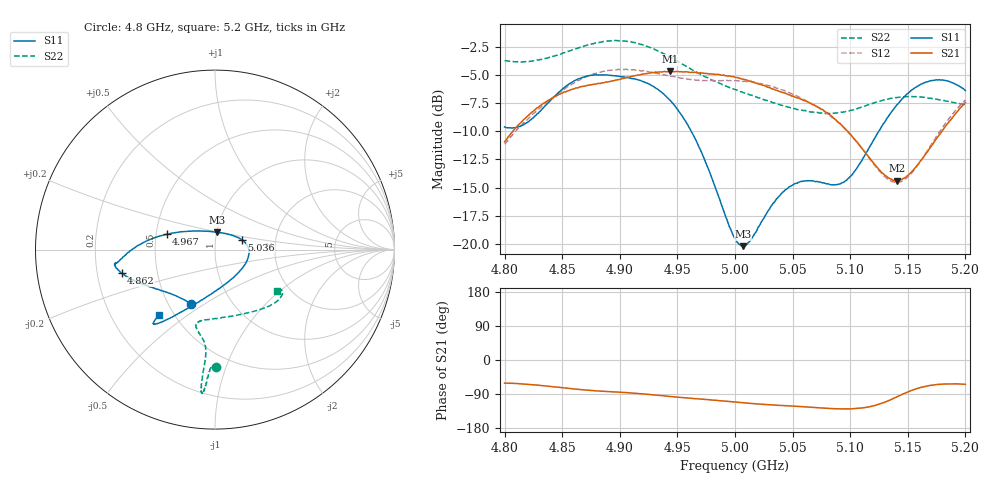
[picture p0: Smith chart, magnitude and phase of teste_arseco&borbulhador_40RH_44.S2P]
! Network Analyzer HP8722D
! Hewlett-Packard
! Data name: Linha & Wilkinson
! Saver's name: Rodrigo Anjos
! Comments: Teste da utilização de aquisição
! continua pelo VNA HP8722D
! Time and date: 15/4/2025 16:43
!  Frequency  S11  S21  S12  S22
# HZ  S  MA R 50
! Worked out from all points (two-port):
!   401 points, 4.8 GHz to 5.2 GHz, reference 50 ohm
!   highest |S21| = -4.63 dB at 4.944 GHz (marker M1); lowest = -14.4 dB at 5.141 GHz (marker M2)
!   |S21| within 3 dB of the highest: 4.832 GHz to 5.068 GHz (236.3 MHz wide, 4.77 % of centre); 5.198086 GHz to end of sweep
!   lowest |S11| = -20.2 dB at 5.007 GHz (marker M3), VSWR 1.22, Z = 50.4 + j9.82 ohm
!   |S11| at or under -10 dB: 4.962 GHz to 5.125 GHz (162.6 MHz wide, 3.22 % of centre)
!   |S22| runs from -8.4 to -1.9 dB; largest |S21 - S12| = 0.88
!   S11 on the Smith chart (normalised r, x): 4.8 GHz: 0.65, -0.44; 4.862 GHz: 0.31, -0.11; 4.967 GHz: 0.57, +0.11; 5.036 GHz: 1.34, +0.15; 5.2 GHz: 0.41, -0.39
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4.8e9  0.3313 -114.0  0.2846 -61.0  0.2774 -175.1  0.654 -89.6
4.819e9  0.3451 -133.8  0.3666 -63.9  0.354 -173.5  0.6481 -91.2
4.862e9  0.5368 -165.9  0.4945 -76.7  0.5272 -176.6  0.7395 -93.7
4.867e9  0.5496 -167.8  0.5016 -78.4  0.5435 -177.7  0.7542 -93.8
4.902e9  0.554 -172.4  0.5439 -85.3  0.5977 175.2  0.8013 -95.3
4.934e9  0.4828 -178.2  0.5824 -93.5  0.5715 171.8  0.718 -95.6
4.944e9  0.4339 177.2  0.5866 -96.2  0.558 171.9  0.6773 -95.5
4.967e9  0.2827 162.4  0.5772 -102.2  0.5349 173.8  0.5803 -95.1
5e9  0.1056 106.4  0.552 -111.1  0.5325 176.4  0.4867 -99.4
5.007e9  0.09739 82.2  0.5405 -112.8  0.5281 176.2  0.4711 -100.9
5.014e9  0.1047 60.0  0.5298 -114.6  0.527 176.1  0.4592 -102.5
5.036e9  0.1582 20.6  0.4826 -119.2  0.4928 174.9  0.4205 -103.8
5.05e9  0.1825 6.4  0.4544 -121.7  0.4629 174.4  0.403 -100.2
5.067e9  0.1904 -12.0  0.4179 -124.8  0.4207 173.9  0.3867 -91.7
5.086e9  0.1829 -42.6  0.3615 -128.5  0.36 173.8  0.3808 -77.4
5.097e9  0.1917 -65.6  0.3193 -129.1  0.3185 174.4  0.3885 -68.3
5.134e9  0.3743 -116.4  0.1952 -106.3  0.1917 -159.1  0.4426 -43.4
5.141e9  0.4175 -120.2  0.1909 -96.5  0.1876 -148.2  0.4485 -40.2
5.153e9  0.4821 -125.2  0.2081 -80.6  0.2054 -129.7  0.4524 -36.0
5.17e9  0.5326 -128.8  0.2699 -66.8  0.2749 -112.9  0.445 -32.1
5.184e9  0.5315 -130.1  0.3407 -63.1  0.3509 -107.2  0.4315 -31.2
5.2e9  0.4816 -130.6  0.4248 -64.1  0.4367 -106.2  0.4157 -33.6
